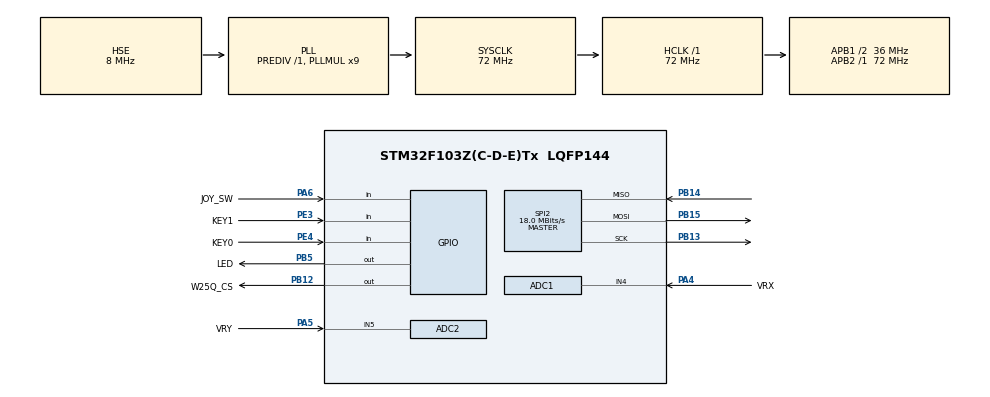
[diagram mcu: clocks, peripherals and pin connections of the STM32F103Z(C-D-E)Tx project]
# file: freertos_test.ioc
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ADC1.Channel-1\#ChannelRegularConversion=ADC_CHANNEL_4
ADC1.NbrOfConversionFlag=1
ADC1.Rank-1\#ChannelRegularConversion=1
ADC1.SamplingTime-1\#ChannelRegularConversion=ADC_SAMPLETIME_1CYCLE_5
ADC1.master=1
ADC2.Channel-1\#ChannelRegularConversion=ADC_CHANNEL_5
ADC2.NbrOfConversionFlag=1
ADC2.Rank-1\#ChannelRegularConversion=1
ADC2.SamplingTime-1\#ChannelRegularConversion=ADC_SAMPLETIME_1CYCLE_5
FREERTOS.Tasks01=defaultTask,24,128,StartDefaultTask,Default,NULL,Dynamic,NULL,NULL
Mcu.Family=STM32F1
Mcu.Name=STM32F103Z(C-D-E)Tx
Mcu.Package=LQFP144
NVIC.PriorityGroup=NVIC_PRIORITYGROUP_4
NVIC.TIM6_IRQn=true\:15\:0\:false\:false\:true\:false\:false\:true\:true
NVIC.TimeBase=TIM6_IRQn
NVIC.TimeBaseIP=TIM6
OSC_IN.Mode=HSE-External-Oscillator
OSC_IN.Signal=RCC_OSC_IN
OSC_OUT.Mode=HSE-External-Oscillator
OSC_OUT.Signal=RCC_OSC_OUT
PA13.Mode=Serial_Wire
PA13.Signal=SYS_JTMS-SWDIO
PA14.Mode=Serial_Wire
PA14.Signal=SYS_JTCK-SWCLK
PA4.GPIO_Label=VRX
PA4.Signal=ADCx_IN4
PA5.GPIO_Label=VRY
PA5.Signal=ADCx_IN5
PA6.GPIO_Label=JOY_SW
PA6.GPIO_PuPd=GPIO_PULLUP
PA6.Signal=GPIO_Input
PB12.GPIO_Label=W25Q_CS
PB12.GPIO_PuPd=GPIO_PULLUP
PB12.PinState=GPIO_PIN_SET
PB12.Signal=GPIO_Output
PB13.Mode=Full_Duplex_Master
PB13.Signal=SPI2_SCK
PB14.Mode=Full_Duplex_Master
PB14.Signal=SPI2_MISO
PB15.Mode=Full_Duplex_Master
PB15.Signal=SPI2_MOSI
PB5.GPIO_Label=LED
PB5.Signal=GPIO_Output
PE3.GPIO_Label=KEY1
PE3.GPIO_PuPd=GPIO_PULLUP
PE3.Signal=GPIO_Input
PE4.GPIO_Label=KEY0
PE4.GPIO_PuPd=GPIO_PULLUP
PE4.Signal=GPIO_Input
ProjectManager.HeapSize=0x200
ProjectManager.StackSize=0x400
ProjectManager.TargetToolchain=MDK-ARM V5.32
RCC.ADCPresc=RCC_ADCPCLK2_DIV6
RCC.AHBFreq_Value=72000000
RCC.APB1CLKDivider=RCC_HCLK_DIV2
RCC.APB1Freq_Value=36000000
RCC.APB1TimFreq_Value=72000000
RCC.APB2Freq_Value=72000000
RCC.APB2TimFreq_Value=72000000
RCC.HCLKFreq_Value=72000000
RCC.PLLMUL=RCC_PLL_MUL9
RCC.PLLSourceVirtual=RCC_PLLSOURCE_HSE
RCC.SYSCLKFreq_VALUE=72000000
RCC.SYSCLKSource=RCC_SYSCLKSOURCE_PLLCLK
RCC.USBFreq_Value=72000000
SH.ADCx_IN4.0=ADC1_IN4,IN4
SH.ADCx_IN5.0=ADC2_IN5,IN5
SPI2.CalculateBaudRate=18.0 MBits/s
SPI2.Direction=SPI_DIRECTION_2LINES
SPI2.Mode=SPI_MODE_MASTER
SPI2.VirtualType=VM_MASTER
VP_FREERTOS_VS_CMSIS_V2.Mode=CMSIS_V2
VP_SYS_VS_tim6.Mode=TIM6
board=custom

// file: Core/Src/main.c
/* USER CODE BEGIN Header */
/**
  ******************************************************************************
  * @file           : main.c
  * @brief          : Main program body
  ******************************************************************************
  * @attention
  *
  * Copyright (c) 2026 STMicroelectronics.
  * All rights reserved.
  *
  * This software is licensed under terms that can be found in the LICENSE file
  * in the root directory of this software component.
  * If no LICENSE file comes with this software, it is provided AS-IS.
  *
  ******************************************************************************
  */
/* USER CODE END Header */
#include "main.h"
#include "cmsis_os.h"
#include "adc.h"
#include "spi.h"
#include "gpio.h"

void SystemClock_Config(void);
void MX_FREERTOS_Init(void);

int main(void)
{

  /* MCU Configuration--------------------------------------------------------*/

  /* Reset of all peripherals, Initializes the Flash interface and the Systick. */
  HAL_Init();

  /* Configure the system clock */
  SystemClock_Config();

  /* Initialize all configured peripherals */
  MX_GPIO_Init();
  MX_ADC1_Init();
  MX_ADC2_Init();
  MX_SPI2_Init();

  /* Init scheduler */
  osKernelInitialize();

  /* Call init function for freertos objects (in cmsis_os2.c) */
  MX_FREERTOS_Init();

  /* Start scheduler */
  osKernelStart();

  /* We should never get here as control is now taken by the scheduler */

  /* Infinite loop */
  while (1)
  {

  }
}

void SystemClock_Config(void)
{
  RCC_OscInitTypeDef RCC_OscInitStruct = {0};
  RCC_ClkInitTypeDef RCC_ClkInitStruct = {0};
  RCC_PeriphCLKInitTypeDef PeriphClkInit = {0};

  /** Initializes the RCC Oscillators according to the specified parameters
  * in the RCC_OscInitTypeDef structure.
  */
  RCC_OscInitStruct.OscillatorType = RCC_OSCILLATORTYPE_HSE;
  RCC_OscInitStruct.HSEState = RCC_HSE_ON;
  RCC_OscInitStruct.HSEPredivValue = RCC_HSE_PREDIV_DIV1;
  RCC_OscInitStruct.HSIState = RCC_HSI_ON;
  RCC_OscInitStruct.PLL.PLLState = RCC_PLL_ON;
  RCC_OscInitStruct.PLL.PLLSource = RCC_PLLSOURCE_HSE;
  RCC_OscInitStruct.PLL.PLLMUL = RCC_PLL_MUL9;
  if (HAL_RCC_OscConfig(&RCC_OscInitStruct) != HAL_OK)
  {
    Error_Handler();
  }

  /** Initializes the CPU, AHB and APB buses clocks
  */
  RCC_ClkInitStruct.ClockType = RCC_CLOCKTYPE_HCLK|RCC_CLOCKTYPE_SYSCLK
                              |RCC_CLOCKTYPE_PCLK1|RCC_CLOCKTYPE_PCLK2;
  RCC_ClkInitStruct.SYSCLKSource = RCC_SYSCLKSOURCE_PLLCLK;
  RCC_ClkInitStruct.AHBCLKDivider = RCC_SYSCLK_DIV1;
  RCC_ClkInitStruct.APB1CLKDivider = RCC_HCLK_DIV2;
  RCC_ClkInitStruct.APB2CLKDivider = RCC_HCLK_DIV1;

  if (HAL_RCC_ClockConfig(&RCC_ClkInitStruct, FLASH_LATENCY_2) != HAL_OK)
  {
    Error_Handler();
  }
  PeriphClkInit.PeriphClockSelection = RCC_PERIPHCLK_ADC;
  PeriphClkInit.AdcClockSelection = RCC_ADCPCLK2_DIV6;
  if (HAL_RCCEx_PeriphCLKConfig(&PeriphClkInit) != HAL_OK)
  {
    Error_Handler();
  }
}

void HAL_TIM_PeriodElapsedCallback(TIM_HandleTypeDef *htim)
{
  if (htim->Instance == TIM6) {
    HAL_IncTick();
  }
}

void Error_Handler(void)
{
  __disable_irq();
  while (1)
  {
  }
}

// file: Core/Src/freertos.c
/* USER CODE BEGIN Header */
/**
  ******************************************************************************
  * File Name          : freertos.c
  * Description        : Code for freertos applications
  ******************************************************************************
  * @attention
  *
  * Copyright (c) 2026 STMicroelectronics.
  * All rights reserved.
  *
  * This software is licensed under terms that can be found in the LICENSE file
  * in the root directory of this software component.
  * If no LICENSE file comes with this software, it is provided AS-IS.
  *
  ******************************************************************************
  */
/* USER CODE END Header */

#include "FreeRTOS.h"
#include "task.h"
#include "main.h"
#include "cmsis_os.h"

/* USER CODE BEGIN Includes */
#include "./BSP/ATK_MD0280/atk_md0280.h"
#include "cursor.h"
#include "app_config.h"
#include "event.h"
#include "input_task.h"
#include "ui_task.h"
#include "desktop.h"
/* USER CODE END Includes */

/* USER CODE BEGIN Variables */
QueueHandle_t g_event_queue;
osThreadId_t inputTaskHandle;
osThreadId_t uiTaskHandle;
const osThreadAttr_t inputTask_attributes = {
  .name = "inputTask",
  .stack_size = 128 * 4,
  .priority = (osPriority_t) osPriorityHigh,
};
const osThreadAttr_t uiTask_attributes = {
  .name = "uiTask",
  /* 512 words x 4B = 2KB: FATFS calls (f_open/f_readdir/f_mkfs) run in this
     task's stack; 1KB left too little headroom */
  .stack_size = 512 * 4,
  .priority = (osPriority_t) osPriorityAboveNormal,
};
/* USER CODE END Variables */
/* Definitions for defaultTask */
osThreadId_t defaultTaskHandle;
const osThreadAttr_t defaultTask_attributes = {
  .name = "defaultTask",
  .stack_size = 128 * 4,
  .priority = (osPriority_t) osPriorityNormal,
};

/* USER CODE BEGIN FunctionPrototypes */
static void tick_timer_cb(void *argument);
/* USER CODE END FunctionPrototypes */

void StartDefaultTask(void *argument);

void MX_FREERTOS_Init(void); /* (MISRA C 2004 rule 8.1) */

void MX_FREERTOS_Init(void) {

  /* USER CODE BEGIN RTOS_TIMERS */
  /* 1s periodic software timer: callback emits EV_TICK into the event queue,
     driving the status bar clock. The callback runs in the timer daemon task
     and must NOT block - a queue send is the only thing it does. */
  osTimerId_t tickTimer = osTimerNew(tick_timer_cb, osTimerPeriodic, NULL, NULL);
  osTimerStart(tickTimer, 1000);
  /* USER CODE END RTOS_TIMERS */

  /* USER CODE BEGIN RTOS_QUEUES */
  /* event queue: capacity 16, input task produces, UI task consumes.
     Sized generously: while Files formats the flash (a few seconds of UI
     stall) K1-press events must survive, not get dropped behind EV_TICKs. */
  g_event_queue = xQueueCreate(16, sizeof(input_event_t));
  /* USER CODE END RTOS_QUEUES */

  /* Create the thread(s) */
  /* creation of defaultTask */
  defaultTaskHandle = osThreadNew(StartDefaultTask, NULL, &defaultTask_attributes);

  /* USER CODE BEGIN RTOS_THREADS */
  /* input task: joystick sampling -> event queue (top priority, 15ms period) */
  inputTaskHandle = osThreadNew(input_task, NULL, &inputTask_attributes);
  /* UI task: sole owner of LCD rendering, consumes event queue */
  uiTaskHandle = osThreadNew(ui_task, NULL, &uiTask_attributes);
  /* USER CODE END RTOS_THREADS */

}

void StartDefaultTask(void *argument)
{
  /* USER CODE BEGIN StartDefaultTask */
  /* CubeMX 模板残留：原本每 500ms 翻一次 LED（验证"RTOS 跑起来了"）。
   * 已废弃——LED 归 ui_task 单写者（EV_TICK 每秒闪 = 系统正常），
   * 两个任务抢同一颗灯会让诊断失效：ui_task 卡死时灯必须停闪。
   * 本任务保持存在但空转（留着占位，CubeMX 重新生成不冲突） */
  for(;;)
  {
    vTaskDelay(1000);
  }
  /* USER CODE END StartDefaultTask */
}

/* USER CODE BEGIN Application */

/* Heap-exhaustion watchdog: heap_4 calls this when any RTOS allocation fails.
   Freeze here so a dead allocation is VISIBLE (LED stops blinking) instead of
   a silently missing task (2026-08-18: uiTask failed to start, screen black). */
void vApplicationMallocFailedHook(void)
{
    for (;;) { }
}

/* 1s tick timer callback: producer of EV_TICK, must not block.
   UI task is the only consumer - single-writer rendering stays intact. */
static void tick_timer_cb(void *argument)
{
    input_event_t ev = { .type = EV_TICK, .dx = 0, .dy = 0, .tick = xTaskGetTickCount() };

    xQueueSend(g_event_queue, &ev, 0);
}

/* USER CODE END Application */
